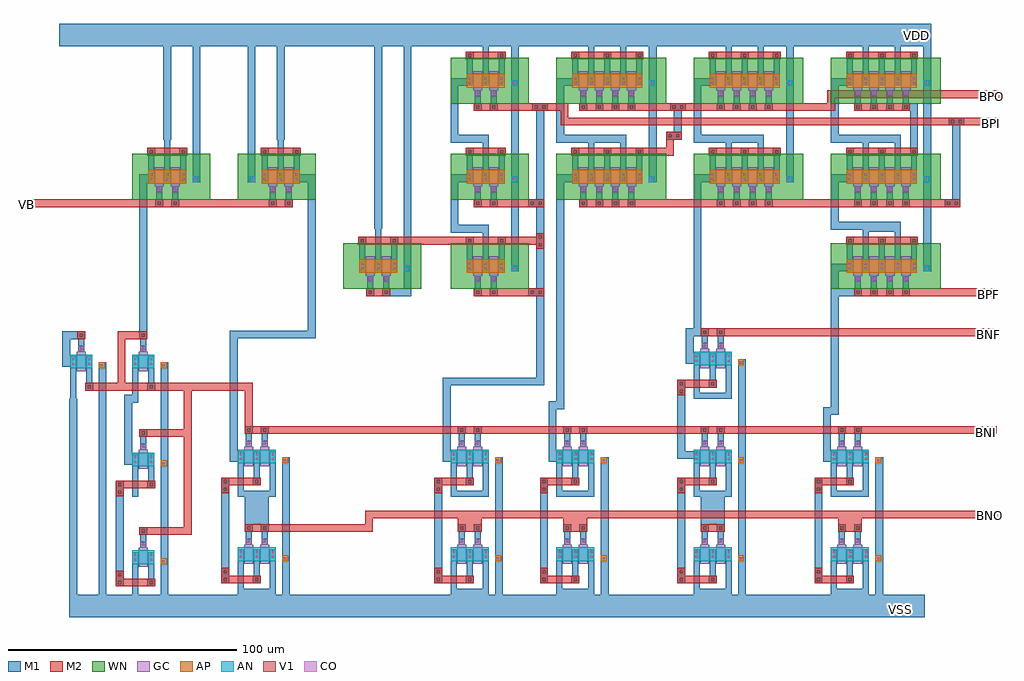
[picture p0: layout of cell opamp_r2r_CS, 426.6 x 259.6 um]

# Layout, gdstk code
from math import pi, radians
import gdstk
lib = gdstk.Library(unit=1e-6, precision=1e-07)
def R(c, l, rs):  # rectangles x0, y0, x1, y1
    for r in rs: c.add(gdstk.rectangle(r[:2], r[2:], *l))
def A(c, l, x, y, w, h, nx, ny, dx, dy):  # array of equal rectangles
    R(c, l, [(x+i*dx, y+j*dy, x+i*dx+w, y+j*dy+h) for i in range(nx) for j in range(ny)])
AP = (3, 1)
AN = (3, 2)
GC = (8, 1)
CO = (11, 0)
M1 = (13, 0)
V1 = (19, 0)
M2 = (20, 0)
WN = (140, 0)

fet_p_1 = lib.new_cell('fet_p$1')
R(fet_p_1, AP, [(-8.3,-3,8.3,3)])
A(fet_p_1, CO, -7.5, -1.5, 1, 1, 3, 2, 7, 2)
A(fet_p_1, M1, -8.3, -2.3, 2.6, 4.6, 3, 1, 7, 0)
fet_p_1.add(gdstk.FlexPath([(3.5,-4.2),(3.5,4.2)], 4, ends="flush", simple_path=True, layer=8, datatype=1))  # GC
fet_p_1.add(gdstk.FlexPath([(-3.5,-4.2),(-3.5,4.2)], 4, ends="flush", simple_path=True, layer=8, datatype=1))  # GC

via_1 = lib.new_cell('via_1')
R(via_1, M1, [(-1.7,-1.7,1.7,1.7)])
R(via_1, V1, [(-0.7,-0.7,0.7,0.7)])
R(via_1, M2, [(-1.7,-1.7,1.7,1.7)])

cont_g = lib.new_cell('cont_g')
R(cont_g, GC, [(-1.3,-1.3,1.3,1.3)])
R(cont_g, CO, [(-0.5,-0.5,0.5,0.5)])
R(cont_g, M1, [(-1.3,-1.3,1.3,1.3)])

cont_n = lib.new_cell('cont_n')
R(cont_n, AN, [(-1.3,-1.3,1.3,1.3)])
R(cont_n, CO, [(-0.5,-0.5,0.5,0.5)])
R(cont_n, M1, [(-1.3,-1.3,1.3,1.3)])

pfet_cs_bottom = lib.new_cell('PFET_CS_BOTTOM')
R(pfet_cs_bottom, WN, [(0,3.2,34.1,23.2)])
pfet_cs_bottom.add(gdstk.FlexPath([(15.3,15.5),(15.3,29.5)], 2.6, ends="flush", simple_path=True, layer=13, datatype=0))  # M1
pfet_cs_bottom.add(gdstk.FlexPath([(8.3,15.5),(8.3,22.5)], 2.6, ends="flush", simple_path=True, layer=13, datatype=0))  # M1
pfet_cs_bottom.add(gdstk.FlexPath([(11.8,6.4),(11.8,3.4)], 2.6, ends="flush", simple_path=True, layer=13, datatype=0))  # M1
pfet_cs_bottom.add(gdstk.FlexPath([(18.8,6.4),(18.8,3.4)], 2.6, ends="flush", simple_path=True, layer=13, datatype=0))  # M1
pfet_cs_bottom.add(gdstk.FlexPath([(22.3,15.5),(22.3,22.5)], 2.6, ends="flush", simple_path=True, layer=13, datatype=0))  # M1
pfet_cs_bottom.add(gdstk.FlexPath([(24,24.2),(6.6,24.2)], 3.4, ends="flush", simple_path=True, layer=20, datatype=0))  # M2
pfet_cs_bottom.add(gdstk.FlexPath([(20.5,1.7),(10.1,1.7)], 3.4, ends="flush", simple_path=True, layer=20, datatype=0))  # M2
pfet_cs_bottom.add(gdstk.Reference(fet_p_1, (15.3,13.2)))
pfet_cs_bottom.add(gdstk.Reference(via_1, (8.3,24.2)))
pfet_cs_bottom.add(gdstk.Reference(cont_g, (11.8,7.7)))
pfet_cs_bottom.add(gdstk.Reference(via_1, (11.8,1.7)))
pfet_cs_bottom.add(gdstk.Reference(cont_g, (18.8,7.7)))
pfet_cs_bottom.add(gdstk.Reference(via_1, (18.8,1.7)))
pfet_cs_bottom.add(gdstk.Reference(via_1, (22.3,24.2)))
pfet_cs_bottom.add(gdstk.Reference(cont_n, (27.7,12.2)))

fet_p = lib.new_cell('fet_p')
R(fet_p, AP, [(-15.3,-3,15.3,3)])
A(fet_p, CO, -14.5, -1.5, 1, 1, 5, 2, 7, 2)
A(fet_p, M1, -15.3, -2.3, 2.6, 4.6, 5, 1, 7, 0)
fet_p.add(gdstk.FlexPath([(3.5,-4.2),(3.5,4.2)], 4, ends="flush", simple_path=True, layer=8, datatype=1))  # GC
fet_p.add(gdstk.FlexPath([(-3.5,-4.2),(-3.5,4.2)], 4, ends="flush", simple_path=True, layer=8, datatype=1))  # GC
fet_p.add(gdstk.FlexPath([(10.5,-4.2),(10.5,4.2)], 4, ends="flush", simple_path=True, layer=8, datatype=1))  # GC
fet_p.add(gdstk.FlexPath([(-10.5,-4.2),(-10.5,4.2)], 4, ends="flush", simple_path=True, layer=8, datatype=1))  # GC

pfet_cs_top = lib.new_cell('PFET_CS_TOP')
R(pfet_cs_top, WN, [(0,3.2,48,23.2)])
pfet_cs_top.add(gdstk.FlexPath([(11.8,6.4),(11.8,3.4)], 2.6, ends="flush", simple_path=True, layer=13, datatype=0))  # M1
pfet_cs_top.add(gdstk.FlexPath([(18.8,6.4),(18.8,3.4)], 2.6, ends="flush", simple_path=True, layer=13, datatype=0))  # M1
pfet_cs_top.add(gdstk.FlexPath([(25.8,6.4),(25.8,3.4)], 2.6, ends="flush", simple_path=True, layer=13, datatype=0))  # M1
pfet_cs_top.add(gdstk.FlexPath([(32.8,6.4),(32.8,3.4)], 2.6, ends="flush", simple_path=True, layer=13, datatype=0))  # M1
pfet_cs_top.add(gdstk.FlexPath([(15.3,15.5),(15.3,29.5)], 2.6, ends="flush", simple_path=True, layer=13, datatype=0))  # M1
pfet_cs_top.add(gdstk.FlexPath([(8.3,15.5),(8.3,22.5)], 2.6, ends="flush", simple_path=True, layer=13, datatype=0))  # M1
pfet_cs_top.add(gdstk.FlexPath([(29.3,15.5),(29.3,29.5)], 2.6, ends="flush", simple_path=True, layer=13, datatype=0))  # M1
pfet_cs_top.add(gdstk.FlexPath([(14,29.5),(30.6,29.5)], 2.6, ends="flush", simple_path=True, layer=13, datatype=0))  # M1
pfet_cs_top.add(gdstk.FlexPath([(22.3,15.5),(22.3,22.5)], 2.6, ends="flush", simple_path=True, layer=13, datatype=0))  # M1
pfet_cs_top.add(gdstk.FlexPath([(36.3,15.5),(36.3,22.5)], 2.6, ends="flush", simple_path=True, layer=13, datatype=0))  # M1
pfet_cs_top.add(gdstk.FlexPath([(6.6,24.2),(38,24.2)], 3.4, ends="flush", simple_path=True, layer=20, datatype=0))  # M2
pfet_cs_top.add(gdstk.FlexPath([(10.1,1.7),(34.5,1.7)], 3.4, ends="flush", simple_path=True, layer=20, datatype=0))  # M2
pfet_cs_top.add(gdstk.Reference(fet_p, (22.3,13.2)))
pfet_cs_top.add(gdstk.Reference(cont_g, (11.8,7.7)))
pfet_cs_top.add(gdstk.Reference(via_1, (11.8,1.7)))
pfet_cs_top.add(gdstk.Reference(cont_g, (18.8,7.7)))
pfet_cs_top.add(gdstk.Reference(cont_g, (25.8,7.7)))
pfet_cs_top.add(gdstk.Reference(cont_g, (32.8,7.7)))
pfet_cs_top.add(gdstk.Reference(via_1, (18.8,1.7)))
pfet_cs_top.add(gdstk.Reference(via_1, (25.8,1.7)))
pfet_cs_top.add(gdstk.Reference(via_1, (32.8,1.7)))
pfet_cs_top.add(gdstk.Reference(via_1, (8.3,24.2)))
pfet_cs_top.add(gdstk.Reference(via_1, (22.3,24.2)))
pfet_cs_top.add(gdstk.Reference(via_1, (36.3,24.2)))
pfet_cs_top.add(gdstk.Reference(cont_n, (41.7,12.2)))

fet_n_3 = lib.new_cell('fet_n$3')
R(fet_n_3, AN, [(-4.8,-3,4.8,3)])
R(fet_n_3, CO, [(-4,-1.5,-3,-0.5), (3,-1.5,4,-0.5), (-4,0.5,-3,1.5), (3,0.5,4,1.5)])
R(fet_n_3, M1, [(-4.8,-2.3,-2.2,2.3), (2.2,-2.3,4.8,2.3)])
fet_n_3.add(gdstk.FlexPath([(0,-4.2),(0,4.2)], 4, ends="flush", simple_path=True, layer=8, datatype=1))  # GC

cont_p = lib.new_cell('cont_p')
R(cont_p, AP, [(-1.3,-1.3,1.3,1.3)])
R(cont_p, CO, [(-0.5,-0.5,0.5,0.5)])
R(cont_p, M1, [(-1.3,-1.3,1.3,1.3)])

nfet_cs_bottom = lib.new_cell('NFET_CS_BOTTOM')
nfet_cs_bottom.add(gdstk.FlexPath([(1.3,0),(1.3,14)], 2.6, ends="flush", simple_path=True, layer=13, datatype=0))  # M1
nfet_cs_bottom.add(gdstk.FlexPath([(8.3,7),(8.3,14)], 2.6, ends="flush", simple_path=True, layer=13, datatype=0))  # M1
nfet_cs_bottom.add(gdstk.FlexPath([(4.8,26.1),(4.8,23.1)], 2.6, ends="flush", simple_path=True, layer=13, datatype=0))  # M1
nfet_cs_bottom.add(gdstk.Reference(fet_n_3, (4.8,16.3)))
nfet_cs_bottom.add(gdstk.Reference(via_1, (8.3,5.3)))
nfet_cs_bottom.add(gdstk.Reference(cont_g, (4.8,21.8)))
nfet_cs_bottom.add(gdstk.Reference(via_1, (4.8,27.8)))
nfet_cs_bottom.add(gdstk.Reference(cont_p, (13.7,14.6)))

fet_n = lib.new_cell('fet_n')
R(fet_n, AN, [(-8.3,-3,8.3,3)])
A(fet_n, CO, -7.5, -1.5, 1, 1, 3, 2, 7, 2)
A(fet_n, M1, -8.3, -2.3, 2.6, 4.6, 3, 1, 7, 0)
fet_n.add(gdstk.FlexPath([(3.5,-4.2),(3.5,4.2)], 4, ends="flush", simple_path=True, layer=8, datatype=1))  # GC
fet_n.add(gdstk.FlexPath([(-3.5,-4.2),(-3.5,4.2)], 4, ends="flush", simple_path=True, layer=8, datatype=1))  # GC

nfet_cs_top = lib.new_cell('NFET_CS_TOP')
nfet_cs_top.add(gdstk.FlexPath([(4.8,27.4),(4.8,24.4)], 2.6, ends="flush", simple_path=True, layer=13, datatype=0))  # M1
nfet_cs_top.add(gdstk.FlexPath([(11.8,27.4),(11.8,24.4)], 2.6, ends="flush", simple_path=True, layer=13, datatype=0))  # M1
nfet_cs_top.add(gdstk.FlexPath([(1.3,1.3),(1.3,15.3)], 2.6, ends="flush", simple_path=True, layer=13, datatype=0))  # M1
nfet_cs_top.add(gdstk.FlexPath([(8.3,8.3),(8.3,15.3)], 2.6, ends="flush", simple_path=True, layer=13, datatype=0))  # M1
nfet_cs_top.add(gdstk.FlexPath([(15.3,1.3),(15.3,15.3)], 2.6, ends="flush", simple_path=True, layer=13, datatype=0))  # M1
nfet_cs_top.add(gdstk.FlexPath([(0,1.3),(16.6,1.3)], 2.6, ends="flush", simple_path=True, layer=13, datatype=0))  # M1
nfet_cs_top.add(gdstk.FlexPath([(3.1,29.1),(13.5,29.1)], 3.4, ends="flush", simple_path=True, layer=20, datatype=0))  # M2
nfet_cs_top.add(gdstk.Reference(fet_n, (8.3,17.6)))
nfet_cs_top.add(gdstk.Reference(cont_g, (4.8,23.1)))
nfet_cs_top.add(gdstk.Reference(via_1, (4.8,29.1)))
nfet_cs_top.add(gdstk.Reference(cont_g, (11.8,23.1)))
nfet_cs_top.add(gdstk.Reference(via_1, (11.8,29.1)))
nfet_cs_top.add(gdstk.Reference(via_1, (8.3,6.6)))
nfet_cs_top.add(gdstk.Reference(cont_p, (20.7,15.9)))

opamp_r2r_cs = lib.new_cell('opamp_r2r_CS')
R(opamp_r2r_cs, M1, [(-191,-99.6,-180.6,-87.6), (8.3,-99.6,18.7,-87.5)])
R(opamp_r2r_cs, M2, [(-97.9,-99.6,-87.5,-97.1), (-51.7,-99.6,-41.3,-97.1), (68.3,-99.6,78.7,-97.1)])
opamp_r2r_cs.add(gdstk.FlexPath([(-1.7,83.4),(-1.7,68.5)], 3.4, ends="flush", simple_path=True, layer=13, datatype=0))  # M1
opamp_r2r_cs.add(gdstk.FlexPath([(120,39),(120,77.2)], 3.4, ends="flush", simple_path=True, layer=13, datatype=0))  # M1
opamp_r2r_cs.add(gdstk.FlexPath([(-45.2,93.6),(-53.1,93.6),(-53.1,68.9),(-24.2,68.9)], 3.4, ends="flush", simple_path=True, layer=13, datatype=0))  # M1
opamp_r2r_cs.add(gdstk.FlexPath([(14.8,93.6),(6.9,93.6),(6.9,68.9),(35.8,68.9)], 3.4, ends="flush", simple_path=True, layer=13, datatype=0))  # M1
opamp_r2r_cs.add(gdstk.FlexPath([(74.8,93.6),(66.9,93.6),(66.9,68.9),(95.8,68.9)], 3.4, ends="flush", simple_path=True, layer=13, datatype=0))  # M1
opamp_r2r_cs.add(gdstk.FlexPath([(-12.7,49.9),(-12.7,111)], 3.4, ends="flush", simple_path=True, layer=13, datatype=0))  # M1
opamp_r2r_cs.add(gdstk.FlexPath([(-272,114.2),(109,114.2)], 10, ends="flush", simple_path=True, layer=13, datatype=0))  # M1
opamp_r2r_cs.add(gdstk.FlexPath([(47.3,49.9),(47.3,111)], 3.4, ends="flush", simple_path=True, layer=13, datatype=0))  # M1
opamp_r2r_cs.add(gdstk.FlexPath([(107.3,10.9),(107.3,111)], 3.4, ends="flush", simple_path=True, layer=13, datatype=0))  # M1
opamp_r2r_cs.add(gdstk.FlexPath([(59.8,-123.8),(59.8,-84.3)], 3.4, ends="flush", simple_path=True, layer=13, datatype=0))  # M1
opamp_r2r_cs.add(gdstk.FlexPath([(-91.4,93.6),(-99.3,93.6),(-99.3,68.9),(-84.4,68.9)], 3.4, ends="flush", simple_path=True, layer=13, datatype=0))  # M1
opamp_r2r_cs.add(gdstk.FlexPath([(-61.9,84.1),(-61.9,-39)], 3.4, ends="flush", simple_path=True, layer=13, datatype=0))  # M1
opamp_r2r_cs.add(gdstk.FlexPath([(-72.9,10.9),(-72.9,113.2)], 3.4, ends="flush", simple_path=True, layer=13, datatype=0))  # M1
opamp_r2r_cs.add(gdstk.FlexPath([(-91.4,51.6),(-99.3,51.6),(-99.3,29.5),(-84.4,29.5)], 3.4, ends="flush", simple_path=True, layer=13, datatype=0))  # M1
opamp_r2r_cs.add(gdstk.FlexPath([(101.5,61.5),(101.5,82.7),(98,82.7)], 3.4, ends="flush", simple_path=True, layer=13, datatype=0))  # M1
opamp_r2r_cs.add(gdstk.FlexPath([(74.8,51.6),(66.9,51.6),(66.9,30.8),(95.8,30.8)], 3.4, ends="flush", simple_path=True, layer=13, datatype=0))  # M1
opamp_r2r_cs.add(gdstk.FlexPath([(-132.7,29.5),(-132.7,114)], 3.4, ends="flush", simple_path=True, layer=13, datatype=0))  # M1
opamp_r2r_cs.add(gdstk.FlexPath([(-119.9,10.9),(-119.9,114)], 3.4, ends="flush", simple_path=True, layer=13, datatype=0))  # M1
opamp_r2r_cs.add(gdstk.FlexPath([(-119.9,13.5),(-119.9,1.7),(-129.2,1.7)], 3.4, ends="flush", simple_path=True, layer=13, datatype=0))  # M1
opamp_r2r_cs.add(gdstk.FlexPath([(-45.2,51.6),(-53.1,51.6),(-53.1,-49.4)], 3.4, ends="flush", simple_path=True, layer=13, datatype=0))  # M1
opamp_r2r_cs.add(gdstk.FlexPath([(14.8,51.6),(6.9,51.6),(6.9,-17.4)], 3.4, ends="flush", simple_path=True, layer=13, datatype=0))  # M1
opamp_r2r_cs.add(gdstk.FlexPath([(74.8,12.6),(66.9,12.6),(66.9,1.7),(76.9,1.7)], 3.4, ends="flush", simple_path=True, layer=13, datatype=0))  # M1
opamp_r2r_cs.add(gdstk.FlexPath([(66.9,1.7),(66.9,-50.2)], 3.4, ends="flush", simple_path=True, layer=13, datatype=0))  # M1
opamp_r2r_cs.add(gdstk.FlexPath([(68.6,-50.2),(63.5,-50.2),(63.5,-72.3)], 3.4, ends="flush", simple_path=True, layer=13, datatype=0))  # M1
opamp_r2r_cs.add(gdstk.FlexPath([(9.9,-15.7),(3.5,-15.7),(3.5,-29.5)], 3.4, ends="flush", simple_path=True, layer=13, datatype=0))  # M1
opamp_r2r_cs.add(gdstk.FlexPath([(26.3,-27.6),(26.3,-135.9)], 3.4, ends="flush", simple_path=True, layer=13, datatype=0))  # M1
opamp_r2r_cs.add(gdstk.FlexPath([(106.2,-135.4),(-267.7,-135.4)], 10, ends="flush", simple_path=True, layer=13, datatype=0))  # M1
opamp_r2r_cs.add(gdstk.FlexPath([(86.3,-70.4),(86.3,-138.1)], 3.4, ends="flush", simple_path=True, layer=13, datatype=0))  # M1
opamp_r2r_cs.add(gdstk.FlexPath([(-33.7,-70.4),(-33.7,-135)], 3.4, ends="flush", simple_path=True, layer=13, datatype=0))  # M1
opamp_r2r_cs.add(gdstk.FlexPath([(-79.9,-70.4),(-79.9,-134.6)], 3.4, ends="flush", simple_path=True, layer=13, datatype=0))  # M1
opamp_r2r_cs.add(gdstk.FlexPath([(-173,-70.4),(-173,-135.9)], 3.4, ends="flush", simple_path=True, layer=13, datatype=0))  # M1
opamp_r2r_cs.add(gdstk.FlexPath([(-226.1,-28.9),(-226.1,-135.4)], 3.4, ends="flush", simple_path=True, layer=13, datatype=0))  # M1
opamp_r2r_cs.add(gdstk.FlexPath([(-253.2,-28.9),(-253.2,-135.5)], 3.4, ends="flush", simple_path=True, layer=13, datatype=0))  # M1
opamp_r2r_cs.add(gdstk.FlexPath([(-266,-44.8),(-266,-137.3)], 3.4, ends="flush", simple_path=True, layer=13, datatype=0))  # M1
opamp_r2r_cs.add(gdstk.FlexPath([(-260.8,-17),(-269,-17),(-269,-30.8)], 3.4, ends="flush", simple_path=True, layer=13, datatype=0))  # M1
opamp_r2r_cs.add(gdstk.FlexPath([(-0.2,-123.8),(-0.2,-84.3)], 3.4, ends="flush", simple_path=True, layer=13, datatype=0))  # M1
opamp_r2r_cs.add(gdstk.FlexPath([(-60.2,-123.8),(-60.2,-84.3)], 3.4, ends="flush", simple_path=True, layer=13, datatype=0))  # M1
opamp_r2r_cs.add(gdstk.FlexPath([(-106.4,-123.8),(-106.4,-84.3)], 3.4, ends="flush", simple_path=True, layer=13, datatype=0))  # M1
opamp_r2r_cs.add(gdstk.FlexPath([(-199.5,-123.8),(-199.5,-84.3)], 3.4, ends="flush", simple_path=True, layer=13, datatype=0))  # M1
opamp_r2r_cs.add(gdstk.FlexPath([(-245.6,-125.1),(-245.6,-85.6)], 3.4, ends="flush", simple_path=True, layer=13, datatype=0))  # M1
opamp_r2r_cs.add(gdstk.FlexPath([(-237.6,-44.8),(-241.9,-44.8),(-241.9,-73.6)], 3.4, ends="flush", simple_path=True, layer=13, datatype=0))  # M1
opamp_r2r_cs.add(gdstk.FlexPath([(-175.3,68.5),(-175.3,113.3)], 3.4, ends="flush", simple_path=True, layer=13, datatype=0))  # M1
opamp_r2r_cs.add(gdstk.FlexPath([(-224.9,68.5),(-224.9,113.7)], 3.4, ends="flush", simple_path=True, layer=13, datatype=0))  # M1
opamp_r2r_cs.add(gdstk.FlexPath([(-212.1,49.9),(-212.1,114.2)], 3.4, ends="flush", simple_path=True, layer=13, datatype=0))  # M1
opamp_r2r_cs.add(gdstk.FlexPath([(-188.1,49.9),(-188.1,114.3)], 3.4, ends="flush", simple_path=True, layer=13, datatype=0))  # M1
opamp_r2r_cs.add(gdstk.FlexPath([(-230.6,51.6),(-235.4,51.6),(-235.4,-18.7)], 3.4, ends="flush", simple_path=True, layer=13, datatype=0))  # M1
opamp_r2r_cs.add(gdstk.FlexPath([(-169.6,51.6),(-161.7,51.6),(-161.7,-16.7),(-195.8,-16.7),(-195.8,-72.3)], 3.4, ends="flush", simple_path=True, layer=13, datatype=0))  # M1
opamp_r2r_cs.add(gdstk.FlexPath([(-0.2,-39.9),(-0.2,-69.4),(7.8,-69.4)], 3.4, ends="flush", simple_path=True, layer=13, datatype=0))  # M1
opamp_r2r_cs.add(gdstk.FlexPath([(-102.7,-72.3),(-102.7,-37.3),(-60.2,-37.3)], 3.4, ends="flush", simple_path=True, layer=13, datatype=0))  # M1
opamp_r2r_cs.add(gdstk.FlexPath([(-56.5,-72.3),(-56.5,-47.7),(-53.1,-47.7)], 3.4, ends="flush", simple_path=True, layer=13, datatype=0))  # M1
opamp_r2r_cs.add(gdstk.FlexPath([(-22,82.7),(17,82.7)], 3.4, ends="flush", simple_path=True, layer=20, datatype=0))  # M2
opamp_r2r_cs.add(gdstk.FlexPath([(38,82.7),(65.3,82.7),(65.3,88.3),(139,88.3)], 3.4, ends="flush", simple_path=True, layer=20, datatype=0))  # M2
opamp_r2r_cs.add(gdstk.FlexPath([(-78.7,24.2),(-60.2,24.2)], 3.4, ends="flush", simple_path=True, layer=20, datatype=0))  # M2
opamp_r2r_cs.add(gdstk.FlexPath([(-125.7,24.2),(-92.7,24.2)], 3.4, ends="flush", simple_path=True, layer=20, datatype=0))  # M2
opamp_r2r_cs.add(gdstk.FlexPath([(-82.2,82.7),(-51.3,82.7),(-51.3,76.4),(138.9,76.4)], 3.4, ends="flush", simple_path=True, layer=20, datatype=0))  # M2
opamp_r2r_cs.add(gdstk.FlexPath([(-22.1,40.7),(120,40.7)], 3.4, ends="flush", simple_path=True, layer=20, datatype=0))  # M2
opamp_r2r_cs.add(gdstk.FlexPath([(-80.8,1.7),(-60.2,1.7)], 3.4, ends="flush", simple_path=True, layer=20, datatype=0))  # M2
opamp_r2r_cs.add(gdstk.FlexPath([(-82.2,40.7),(-60.2,40.7)], 3.4, ends="flush", simple_path=True, layer=20, datatype=0))  # M2
opamp_r2r_cs.add(gdstk.FlexPath([(-18.5,63.2),(-5.1,63.2),(-5.1,70.2),(0,70.2)], 3.4, ends="flush", simple_path=True, layer=20, datatype=0))  # M2
opamp_r2r_cs.add(gdstk.FlexPath([(98,1.7),(138.2,1.7)], 3.4, ends="flush", simple_path=True, layer=20, datatype=0))  # M2
opamp_r2r_cs.add(gdstk.FlexPath([(17,-15.7),(138.3,-15.7)], 3.4, ends="flush", simple_path=True, layer=20, datatype=0))  # M2
opamp_r2r_cs.add(gdstk.FlexPath([(75.2,-81),(58.1,-81)], 3.4, ends="flush", simple_path=True, layer=20, datatype=0))  # M2
opamp_r2r_cs.add(gdstk.FlexPath([(75.2,-123.8),(58.1,-123.8)], 3.4, ends="flush", simple_path=True, layer=20, datatype=0))  # M2
opamp_r2r_cs.add(gdstk.FlexPath([(15.2,-81),(-1.9,-81)], 3.4, ends="flush", simple_path=True, layer=20, datatype=0))  # M2
opamp_r2r_cs.add(gdstk.FlexPath([(15.2,-123.8),(-1.9,-123.8)], 3.4, ends="flush", simple_path=True, layer=20, datatype=0))  # M2
opamp_r2r_cs.add(gdstk.FlexPath([(-44.8,-81),(-61.9,-81)], 3.4, ends="flush", simple_path=True, layer=20, datatype=0))  # M2
opamp_r2r_cs.add(gdstk.FlexPath([(-44.8,-123.8),(-61.9,-123.8)], 3.4, ends="flush", simple_path=True, layer=20, datatype=0))  # M2
opamp_r2r_cs.add(gdstk.FlexPath([(-91,-81),(-108.1,-81)], 3.4, ends="flush", simple_path=True, layer=20, datatype=0))  # M2
opamp_r2r_cs.add(gdstk.FlexPath([(-91,-123.8),(-108.1,-123.8)], 3.4, ends="flush", simple_path=True, layer=20, datatype=0))  # M2
opamp_r2r_cs.add(gdstk.FlexPath([(-184.1,-81),(-201.2,-81)], 3.4, ends="flush", simple_path=True, layer=20, datatype=0))  # M2
opamp_r2r_cs.add(gdstk.FlexPath([(-184.1,-123.8),(-201.2,-123.8)], 3.4, ends="flush", simple_path=True, layer=20, datatype=0))  # M2
opamp_r2r_cs.add(gdstk.FlexPath([(-230.2,-82.3),(-247.3,-82.3)], 3.4, ends="flush", simple_path=True, layer=20, datatype=0))  # M2
opamp_r2r_cs.add(gdstk.FlexPath([(-230.2,-125.1),(-247.3,-125.1)], 3.4, ends="flush", simple_path=True, layer=20, datatype=0))  # M2
opamp_r2r_cs.add(gdstk.FlexPath([(-184,-58.5),(137.7,-58.5)], 3.4, ends="flush", simple_path=True, layer=20, datatype=0))  # M2
opamp_r2r_cs.add(gdstk.FlexPath([(-235.4,-17),(-244.9,-17),(-244.9,-39.5)], 3.4, ends="flush", simple_path=True, layer=20, datatype=0))  # M2
opamp_r2r_cs.add(gdstk.FlexPath([(-232.2,-39.5),(-189.3,-39.5),(-189.3,-60.2)], 3.4, ends="flush", simple_path=True, layer=20, datatype=0))  # M2
opamp_r2r_cs.add(gdstk.FlexPath([(-237.1,-59.8),(-215.9,-59.8),(-215.9,-38.7)], 3.4, ends="flush", simple_path=True, layer=20, datatype=0))  # M2
opamp_r2r_cs.add(gdstk.FlexPath([(-259,-39.5),(-231.9,-39.5)], 3.4, ends="flush", simple_path=True, layer=20, datatype=0))  # M2
opamp_r2r_cs.add(gdstk.FlexPath([(-235.5,-102.6),(-215.9,-102.6),(-215.9,-59.8)], 3.4, ends="flush", simple_path=True, layer=20, datatype=0))  # M2
opamp_r2r_cs.add(gdstk.FlexPath([(-179,40.7),(-287.5,40.7)], 3.4, ends="flush", simple_path=True, layer=20, datatype=0))  # M2
opamp_r2r_cs.add(gdstk.FlexPath([(-185.8,-101.3),(-136.7,-101.3),(-136.7,-95.4),(139.1,-95.4)], 3.4, ends="flush", simple_path=True, layer=20, datatype=0))  # M2
opamp_r2r_cs.add(gdstk.FlexPath([(15.2,-38.2),(-1.9,-38.2)], 3.4, ends="flush", simple_path=True, layer=20, datatype=0))  # M2
opamp_r2r_cs.add(gdstk.Reference(pfet_cs_bottom, (-148,0)))
opamp_r2r_cs.add(gdstk.Reference(pfet_cs_top, (-54.8,39)))
opamp_r2r_cs.add(gdstk.Reference(pfet_cs_bottom, (-101,0)))
opamp_r2r_cs.add(gdstk.Reference(pfet_cs_top, (-54.8,81)))
opamp_r2r_cs.add(gdstk.Reference(pfet_cs_bottom, (-101,39)))
opamp_r2r_cs.add(gdstk.Reference(pfet_cs_bottom, (-101,81)))
opamp_r2r_cs.add(gdstk.Reference(nfet_cs_bottom, (-240.2,-44.8)))
opamp_r2r_cs.add(gdstk.Reference(pfet_cs_top, (5.2,39)))
opamp_r2r_cs.add(gdstk.Reference(nfet_cs_top, (5.2,-44.8)))
opamp_r2r_cs.add(gdstk.Reference(pfet_cs_top, (65.2,39)))
opamp_r2r_cs.add(gdstk.Reference(pfet_cs_top, (5.2,81)))
opamp_r2r_cs.add(gdstk.Reference(pfet_cs_top, (65.2,81)))
opamp_r2r_cs.add(gdstk.Reference(pfet_cs_top, (65.2,0)))
opamp_r2r_cs.add(gdstk.Reference(pfet_cs_bottom, (-160,39), rotation=pi, x_reflection=True))
opamp_r2r_cs.add(gdstk.Reference(pfet_cs_bottom, (-240.2,39)))
opamp_r2r_cs.add(gdstk.Reference(nfet_cs_bottom, (-267.3,-44.8)))
opamp_r2r_cs.add(gdstk.Reference(nfet_cs_top, (5.2,-87.6)))
opamp_r2r_cs.add(gdstk.Reference(nfet_cs_top, (-101,-87.6)))
opamp_r2r_cs.add(gdstk.Reference(nfet_cs_top, (-54.8,-87.6)))
opamp_r2r_cs.add(gdstk.Reference(nfet_cs_top, (65.2,-87.6)))
opamp_r2r_cs.add(gdstk.Reference(nfet_cs_top, (-194.1,-130.4)))
opamp_r2r_cs.add(gdstk.Reference(nfet_cs_bottom, (-240.2,-87.6)))
opamp_r2r_cs.add(gdstk.Reference(nfet_cs_top, (-194.1,-87.6)))
opamp_r2r_cs.add(gdstk.Reference(nfet_cs_bottom, (-240.2,-130.4)))
opamp_r2r_cs.add(gdstk.Reference(nfet_cs_top, (-101,-130.4)))
opamp_r2r_cs.add(gdstk.Reference(nfet_cs_top, (-54.8,-130.4)))
opamp_r2r_cs.add(gdstk.Reference(nfet_cs_top, (5.2,-130.4)))
opamp_r2r_cs.add(gdstk.Reference(nfet_cs_top, (65.2,-130.4)))
opamp_r2r_cs.add(gdstk.Reference(via_1, (0,82.7)))
opamp_r2r_cs.add(gdstk.Reference(via_1, (-3.4,82.7)))
opamp_r2r_cs.add(gdstk.Reference(via_1, (-5.1,70.2)))
opamp_r2r_cs.add(gdstk.Reference(via_1, (-1.7,70.2)))
opamp_r2r_cs.add(gdstk.Reference(via_1, (118.3,76.4)))
opamp_r2r_cs.add(gdstk.Reference(via_1, (121.7,76.4)))
opamp_r2r_cs.add(gdstk.Reference(via_1, (120,40.7)))
opamp_r2r_cs.add(gdstk.Reference(via_1, (116.6,40.7)))
opamp_r2r_cs.add(gdstk.Reference(via_1, (-63.6,82.7)))
opamp_r2r_cs.add(gdstk.Reference(via_1, (-60.2,82.7)))
opamp_r2r_cs.add(gdstk.Reference(via_1, (-61.9,40.7)))
opamp_r2r_cs.add(gdstk.Reference(via_1, (-65.3,40.7)))
opamp_r2r_cs.add(gdstk.Reference(via_1, (-61.9,1.7)))
opamp_r2r_cs.add(gdstk.Reference(via_1, (-65.3,1.7)))
opamp_r2r_cs.add(gdstk.Reference(via_1, (-61.9,25.9)))
opamp_r2r_cs.add(gdstk.Reference(via_1, (-61.9,22.5)))
opamp_r2r_cs.add(gdstk.Reference(via_1, (59.8,-81)))
opamp_r2r_cs.add(gdstk.Reference(via_1, (59.8,-84.4)))
opamp_r2r_cs.add(gdstk.Reference(via_1, (59.8,-123.8)))
opamp_r2r_cs.add(gdstk.Reference(via_1, (59.8,-120.4)))
opamp_r2r_cs.add(gdstk.Reference(via_1, (-0.2,-81)))
opamp_r2r_cs.add(gdstk.Reference(via_1, (-0.2,-84.4)))
opamp_r2r_cs.add(gdstk.Reference(via_1, (-0.2,-123.8)))
opamp_r2r_cs.add(gdstk.Reference(via_1, (-0.2,-120.4)))
opamp_r2r_cs.add(gdstk.Reference(via_1, (-60.2,-81)))
opamp_r2r_cs.add(gdstk.Reference(via_1, (-60.2,-84.4)))
opamp_r2r_cs.add(gdstk.Reference(via_1, (-60.2,-123.8)))
opamp_r2r_cs.add(gdstk.Reference(via_1, (-60.2,-120.4)))
opamp_r2r_cs.add(gdstk.Reference(via_1, (-106.4,-81)))
opamp_r2r_cs.add(gdstk.Reference(via_1, (-106.4,-84.4)))
opamp_r2r_cs.add(gdstk.Reference(via_1, (-106.4,-123.8)))
opamp_r2r_cs.add(gdstk.Reference(via_1, (-106.4,-120.4)))
opamp_r2r_cs.add(gdstk.Reference(via_1, (-199.5,-81)))
opamp_r2r_cs.add(gdstk.Reference(via_1, (-199.5,-84.4)))
opamp_r2r_cs.add(gdstk.Reference(via_1, (-199.5,-123.8)))
opamp_r2r_cs.add(gdstk.Reference(via_1, (-199.5,-120.4)))
opamp_r2r_cs.add(gdstk.Reference(via_1, (-245.6,-82.3)))
opamp_r2r_cs.add(gdstk.Reference(via_1, (-245.6,-85.7)))
opamp_r2r_cs.add(gdstk.Reference(via_1, (-245.6,-125.1)))
opamp_r2r_cs.add(gdstk.Reference(via_1, (-245.6,-121.7)))
opamp_r2r_cs.add(gdstk.Reference(via_1, (-0.2,-38.2)))
opamp_r2r_cs.add(gdstk.Reference(via_1, (-0.2,-41.6)))
opamp_r2r_cs.add(gdstk.Label('BPO', (135.3,87.3), layer=49, texttype=0))
opamp_r2r_cs.add(gdstk.Label('BPI', (135.3,75.3), layer=49, texttype=0))
opamp_r2r_cs.add(gdstk.Label('BPF', (133.9,0.9), layer=49, texttype=0))
opamp_r2r_cs.add(gdstk.Label('BNF', (134,-16.8), layer=49, texttype=0))
opamp_r2r_cs.add(gdstk.Label('BNI', (133.1,-59.6), layer=49, texttype=0))
opamp_r2r_cs.add(gdstk.Label('VB', (-286.4,40), layer=49, texttype=0))
opamp_r2r_cs.add(gdstk.Label('BNO', (134.5,-95.9), layer=49, texttype=0))
opamp_r2r_cs.add(gdstk.Label('VDD', (102.5,113.8), layer=48, texttype=0))
opamp_r2r_cs.add(gdstk.Label('VSS', (95.6,-137.1), layer=48, texttype=0))

lib.write_gds('opamp_r2r_CS.gds')
